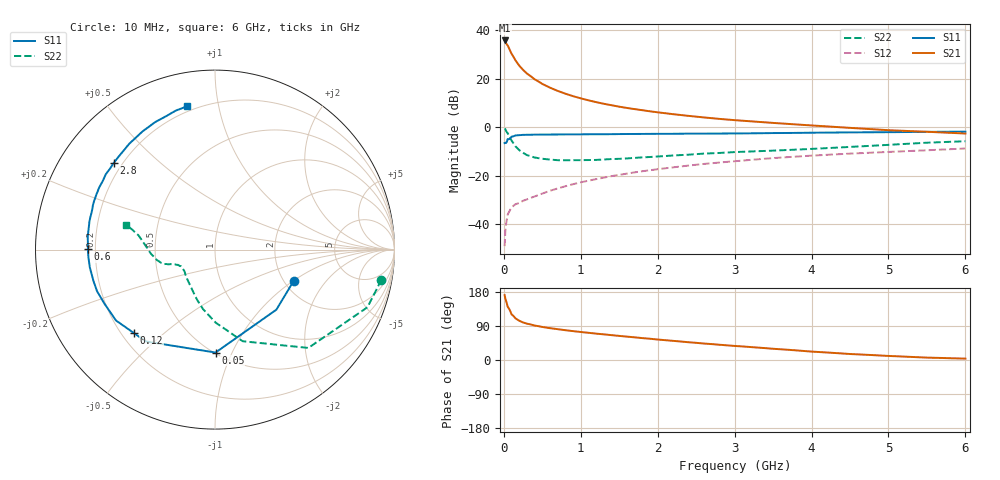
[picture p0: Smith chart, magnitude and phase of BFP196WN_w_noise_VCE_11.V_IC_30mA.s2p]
! (c) 2017  Infineon Technologies AG, Munich
! Infineon Technologies  Discrete & RF Semiconductors
! BFP196WN
! VCE =  11. V,  IC =  30 mA
! Common Emitter S-Parameters:  Jan 2017
# GHz  S  MA  R  50
!  f  S11  S21  S12  S22
! GHz  MAG  ANG  MAG  ANG  MAG  ANG  MAG  ANG
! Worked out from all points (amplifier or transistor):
!   77 points, 10 MHz to 6 GHz, reference 50 ohm
!   highest |S21| = 35.9 dB at 10 MHz (marker M1)
!   |S21| within 3 dB of that: start of sweep to 64.16 MHz
!   unconditionally stable (mu >= 1): 830.7 MHz to 2.741 GHz
!   at 130 MHz: K = 0.39, MSG = 30.6 dB, |S12| = -32.3 dB
!   at 2.2 GHz: K = 1.03, MAG = 9.9 dB, |S12| = -16.6 dB
!   at 6 GHz: K = 0.88, MSG = 3.1 dB, |S12| = -8.8 dB
!   lowest NFmin = 1.06 dB at 450 MHz
!   S11 on the Smith chart (normalised r, x): 10 MHz: 2.24, -1.01; 50 MHz: 0.51, -0.87; 120 MHz: 0.25, -0.40; 600 MHz: 0.17, +0.00; 2.8 GHz: 0.17, +0.36; 6 GHz: 0.17, +0.81
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0.01  0.4717 -21.8  62.1 171.2  0.0035 77.3  0.9422 -10.3
0.02  0.4785 -44.4  58.4 161.8  0.0075 71.4  0.9082 -20.7
0.05  0.5736 -89.7  48.91 140.6  0.0157 57.6  0.7553 -46.5
0.1  0.6406 -127.0  33.1 120.5  0.022 46.5  0.5333 -73.2
0.12  0.6484 -134.2  29.45 117.1  0.0235 45.3  0.478 -78.7
0.15  0.6784 -144.4  24.25 110.1  0.0257 43.7  0.4061 -89.6
0.2  0.6859 -154.1  18.8 103.6  0.0273 44.6  0.338 -101.4
0.25  0.6969 -160.6  15.31 99.1  0.0303 44.8  0.2966 -109.7
0.3  0.6994 -165.6  12.88 95.9  0.0324 46.8  0.2663 -116.9
0.4  0.7046 -172.0  9.793 90.9  0.0372 51.7  0.2376 -127.0
0.5  0.7066 -176.6  7.863 87.2  0.0427 55.2  0.2236 -134.7
0.6  0.7082 179.8  6.579 84.0  0.0488 57.5  0.2152 -140.3
0.7  0.7093 176.9  5.638 81.4  0.0545 59.7  0.209 -144.0
0.8  0.7129 174.2  4.941 78.6  0.0605 61.5  0.2081 -146.7
1.1  0.7168 167.5  3.601 71.8  0.0789 63.7  0.2104 -153.1
1.5  0.7233 160.2  2.661 63.6  0.104 64.1  0.2229 -157.7
2.1  0.7323 150.2  1.949 52.3  0.1423 62.4  0.255 -161.4
2.8  0.7424 139.5  1.49 40.3  0.1866 58.7  0.2945 -164.0
3.1  0.7473 134.9  1.367 35.8  0.2051 56.4  0.3116 -166.7
4.1  0.7739 120.3  1.066 21.0  0.2645 49.1  0.364 -178.0
5.1  0.7939 109.2  0.857 9.9  0.3144 41.7  0.4424 168.8
6  0.813 101.2  0.742 3.6  0.3641 35.7  0.5147 164.5
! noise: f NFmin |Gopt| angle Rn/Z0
0.45  1.06  0.46  178  0.04
0.9  1.19  0.52  184  0.05
1.9  2.13  0.68  211  0.13
2.4  2.86  0.69  218  0.24
